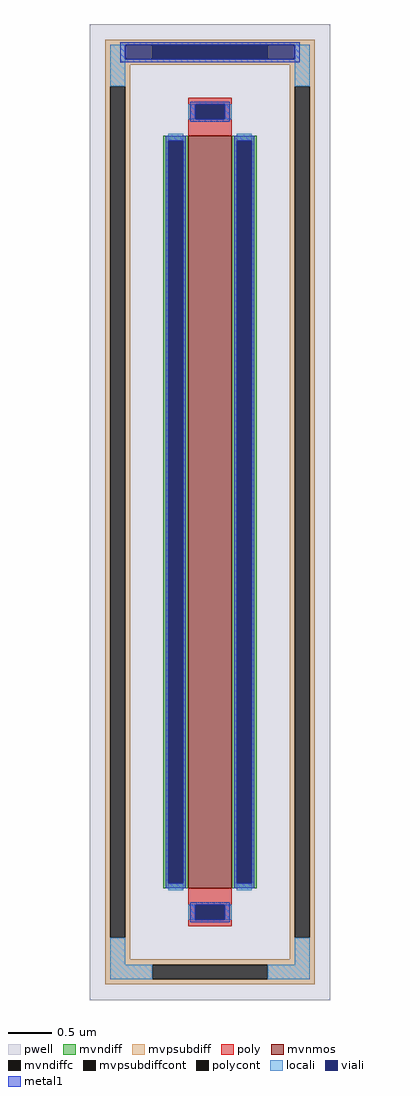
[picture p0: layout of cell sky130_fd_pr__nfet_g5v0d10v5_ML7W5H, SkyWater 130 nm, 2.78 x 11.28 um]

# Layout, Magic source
magic
tech sky130A
<< pwell >>
rect -139 -564 139 564
<< mvnmos >>
rect -25 -435 25 435
<< mvndiff >>
rect -54 429 -25 435
rect -54 -429 -48 429
rect -31 -429 -25 429
rect -54 -435 -25 -429
rect 25 429 54 435
rect 25 -429 31 429
rect 48 -429 54 429
rect 25 -435 54 -429
<< mvndiffc >>
rect -48 -429 -31 429
rect 31 -429 48 429
<< mvpsubdiff >>
rect -121 540 121 546
rect -121 523 -67 540
rect 67 523 121 540
rect -121 517 121 523
rect -121 492 -92 517
rect -121 -492 -115 492
rect -98 -492 -92 492
rect 92 492 121 517
rect -121 -517 -92 -492
rect 92 -492 98 492
rect 115 -492 121 492
rect 92 -517 121 -492
rect -121 -523 121 -517
rect -121 -540 -67 -523
rect 67 -540 121 -523
rect -121 -546 121 -540
<< mvpsubdiffcont >>
rect -67 523 67 540
rect -115 -492 -98 492
rect 98 -492 115 492
rect -67 -540 67 -523
<< poly >>
rect -25 471 25 479
rect -25 454 -17 471
rect 17 454 25 471
rect -25 435 25 454
rect -25 -454 25 -435
rect -25 -471 -17 -454
rect 17 -471 25 -454
rect -25 -479 25 -471
<< polycont >>
rect -17 454 17 471
rect -17 -471 17 -454
<< locali >>
rect -115 492 -98 540
rect 98 492 115 540
rect -25 454 -17 471
rect 17 454 25 471
rect -48 429 -31 437
rect -48 -437 -31 -429
rect 31 429 48 437
rect 31 -437 48 -429
rect -25 -471 -17 -454
rect 17 -471 25 -454
rect -115 -523 -98 -492
rect 98 -523 115 -492
rect -115 -540 -67 -523
rect 67 -540 115 -523
<< viali >>
rect -98 523 -67 540
rect -67 523 67 540
rect 67 523 98 540
rect -17 454 17 471
rect -48 -429 -31 429
rect 31 -429 48 429
rect -17 -471 17 -454
<< metal1 >>
rect -104 540 104 543
rect -104 523 -98 540
rect 98 523 104 540
rect -104 520 104 523
rect -23 471 23 474
rect -23 454 -17 471
rect 17 454 23 471
rect -23 451 23 454
rect -51 429 -28 435
rect -51 -429 -48 429
rect -31 -429 -28 429
rect -51 -435 -28 -429
rect 28 429 51 435
rect 28 -429 31 429
rect 48 -429 51 429
rect 28 -435 51 -429
rect -23 -454 23 -451
rect -23 -471 -17 -454
rect 17 -471 23 -454
rect -23 -474 23 -471
<< properties >>
string gencell sky130_fd_pr__nfet_g5v0d10v5
string FIXED_BBOX -106 -532 106 530
string parameters w 8.7 l 0.5 m 1 nf 1 diffcov 100 polycov 100 guard 1 glc 1 grc 1 gtc 1 gbc 1 tbcov 100 rlcov 100 topc 1 botc 1 poverlap 0 doverlap 1 lmin 0.50 wmin 0.42 compatible {sky130_fd_pr__nfet_01v8 sky130_fd_pr__nfet_01v8_lvt  sky130_fd_bs_flash__special_sonosfet_star  sky130_fd_pr__nfet_g5v0d10v5 sky130_fd_pr__nfet_05v0_nvt  sky130_fd_pr__nfet_03v3_nvt} full_metal 1 viasrc 100 viadrn 100 viagate 100 viagb 0 viagr 0 viagl 0 viagt 100
string library sky130
<< end >>
